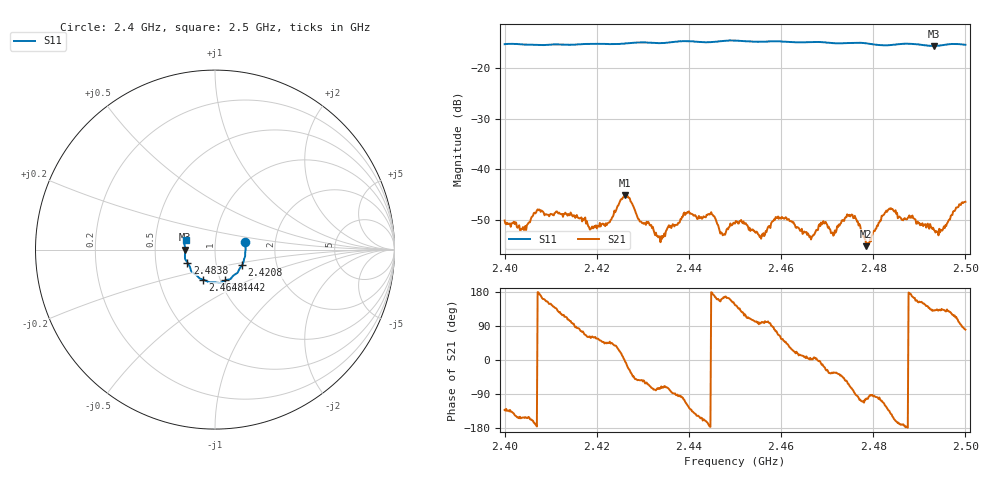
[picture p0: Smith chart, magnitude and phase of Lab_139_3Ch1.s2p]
# Hz S RI R 50
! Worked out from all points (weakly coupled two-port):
!   601 points, 2.4 GHz to 2.5 GHz, reference 50 ohm
!   highest |S21| = -45.12 dB at 2.4262 GHz (marker M1); lowest = -55.2 dB at 2.4785 GHz (marker M2)
!   lowest |S11| = -15.6 dB at 2.4932 GHz (marker M3), VSWR 1.40, Z = 35.8 - j0.0863 ohm
!   |S11| at or under -10 dB: start of sweep to end of sweep
!   S12 and S22 are empty: the file has one direction only
!   S11 on the Smith chart (normalised r, x): 2.4 GHz: 1.40, +0.12; 2.4208 GHz: 1.33, -0.24; 2.4442 GHz: 1.05, -0.37; 2.4648 GHz: 0.83, -0.29; 2.4838 GHz: 0.73, -0.11; 2.5 GHz: 0.72, +0.08
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2.4e9  0.1678 0.0413  -0.00207 -0.00232  0 0  0 0
2.403833e9  0.1708 0.0184  -0.00226 -0.00121  0 0  0 0
2.4075e9  0.1688 -0.0134  -0.00398 0.000341  0 0  0 0
2.416667e9  0.1588 -0.0682  0.000821 0.00324  0 0  0 0
2.420833e9  0.1506 -0.087  0.0017 0.00212  0 0  0 0
2.426167e9  0.1327 -0.1152  0.00553 -0.000428  0 0  0 0
2.433333e9  0.1077 -0.1403  0.000503 -0.00206  0 0  0 0
2.439333e9  0.0842 -0.165  -0.00145 -0.0034  0 0  0 0
2.444167e9  0.0567 -0.1715  -0.00353 -0.000739  0 0  0 0
2.447333e9  0.0357 -0.1824  -0.00212 0.000671  0 0  0 0
2.45e9  0.0245 -0.186  -0.00237 0.00168  0 0  0 0
2.455833e9  -0.0129 -0.1822  -0.000411 0.00223  0 0  0 0
2.460667e9  -0.0388 -0.1789  0.00208 0.00249  0 0  0 0
2.464833e9  -0.0684 -0.1669  0.00231 0.000431  0 0  0 0
2.466667e9  -0.0798 -0.1628  0.00215 9.66e-05  0 0  0 0
2.4715e9  -0.0992 -0.1463  0.00188 -0.00124  0 0  0 0
2.474833e9  -0.1212 -0.1296  0.00133 -0.00328  0 0  0 0
2.4785e9  -0.1356 -0.1125  -0.00035 -0.0017  0 0  0 0
2.483333e9  -0.1505 -0.0761  -0.00274 -0.00294  0 0  0 0
2.483833e9  -0.1533 -0.0722  -0.00327 -0.00251  0 0  0 0
2.493167e9  -0.166 -0.00117  -0.00163 0.00192  0 0  0 0
2.5e9  -0.162 0.0531  0.000813 0.0047  0 0  0 0
